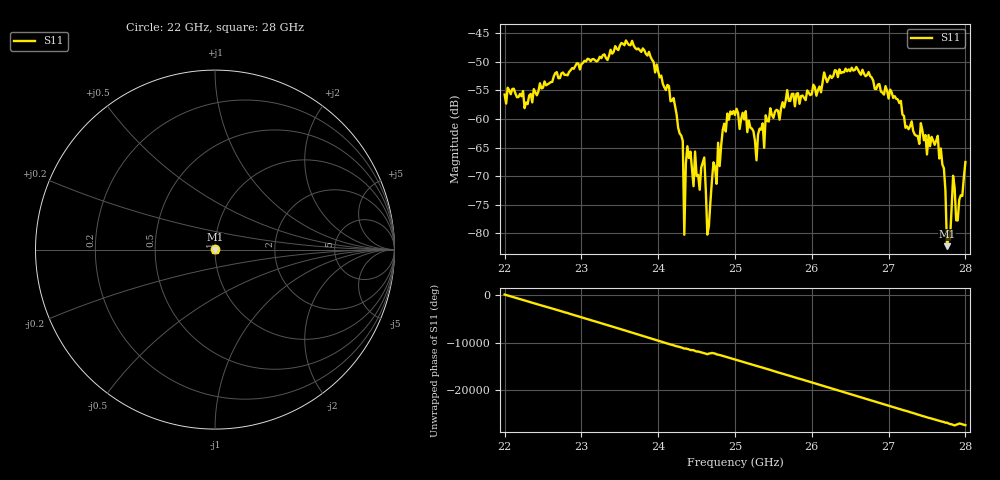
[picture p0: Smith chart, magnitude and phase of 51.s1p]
#  HZ  S  RI  R  50.00
! Rohde & Schwarz ZVA40 4Ports - Version 3.90 - 1145.1110k42 SN: 100403
! Date: 2023-10-04 08:51:13
! Measurement: S12
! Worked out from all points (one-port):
!   301 points, 22 GHz to 28 GHz, reference 50 ohm
!   lowest |S11| = -82.2 dB at 27.76 GHz (marker M1), VSWR 1.00, Z = 50 + j0.000489 ohm
!   |S11| at or under -10 dB: start of sweep to end of sweep
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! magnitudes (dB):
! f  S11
! 22 GHz  -55.8
! 22.76 GHz  -51.9
! 23.5 GHz  -47.2
! 23.88 GHz  -48.3
! 24.26 GHz  -61.6
! 24.32 GHz  -63.8
! 24.34 GHz  -80.2
! 24.38 GHz  -64.8
! 24.46 GHz  -71.7
! 24.48 GHz  -65.7
! 24.54 GHz  -72.4
! 24.6 GHz  -66.7
! 24.64 GHz  -80.2
! 24.72 GHz  -67.6
! 24.76 GHz  -71.3
! 25 GHz  -59.3
! 25.28 GHz  -67.2
! 25.4 GHz  -59.4
! 25.76 GHz  -55.6
! 26.5 GHz  -51.7
! 27.26 GHz  -61.8
! 27.64 GHz  -63.0
! 27.72 GHz  -68.6
! 27.76 GHz  -82.2
! 27.8 GHz  -81.1
! 27.84 GHz  -69.9
! 27.9 GHz  -77.7
! 28 GHz  -67.5
